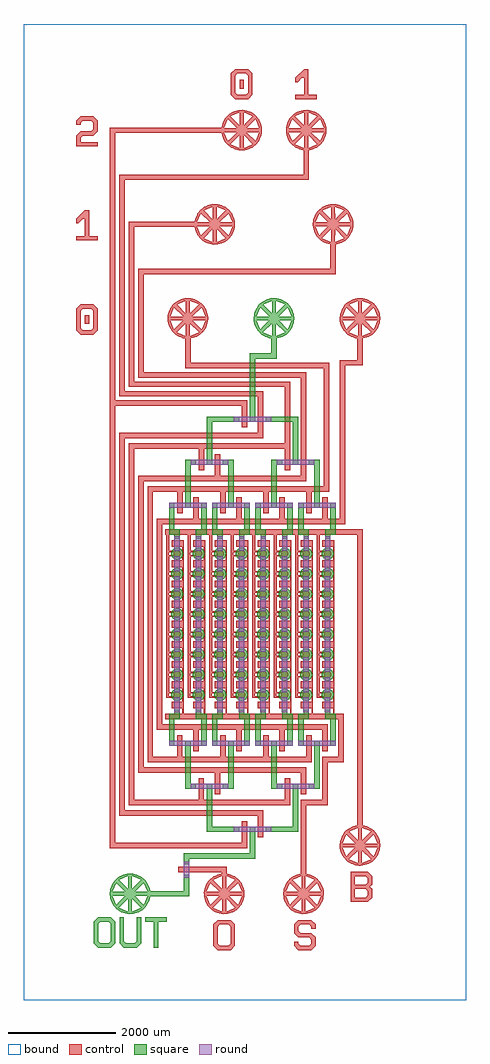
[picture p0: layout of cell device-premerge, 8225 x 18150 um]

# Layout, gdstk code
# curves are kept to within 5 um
import gdstk
lib = gdstk.Library(unit=1e-6, precision=1e-06)
def R(c, l, rs):  # rectangles x0, y0, x1, y1
    for r in rs: c.add(gdstk.rectangle(r[:2], r[2:], *l))
def A(c, l, x, y, w, h, nx, ny, dx, dy):  # array of equal rectangles
    R(c, l, [(x+i*dx, y+j*dy, x+i*dx+w, y+j*dy+h) for i in range(nx) for j in range(ny)])
def P(c, l, *ps):  # polygons
    for p in ps: c.add(gdstk.Polygon(p, *l))
square = (1, 0)
round = (2, 0)
control = (3, 0)
bound = (4, 0)

text_12 = lib.new_cell('TEXT$12')
R(text_12, control, [(160,200,240,360)])
P(text_12, control, [(80,0),(0,80),(0,480),(80,560),(320,560),(400,480),(120,480),(80,440),(80,120),(120,80),(280,80),(320,120),(320,440),(280,480),(400,480),(400,80),(320,0)])

control_inlet = lib.new_cell('control-inlet')
P(control_inlet, control, [(-19,-376),(-91,-365),(-160,-339),(-253,-279),(-302,-225),(-339,-161),(-372,-52),(-331,-35),(-259,-209),(-208,-157),(-36,-86),(-209,-259),(-35,-331),(-36,-115),(36,-86),(35,-331),(209,-259),(36,-86),(-36,-115),(-36,-86),(86,-36),(259,-209),(331,-35),(86,-36),(-208,-157),(-86,-36),(-331,-35),(-372,-52),(-376,19),(-365,91),(-330,179),(-259,209),(-331,35),(-86,36),(-259,209),(-330,179),(-304,219),(-209,259),(-36,87),(-35,302),(35,331),(36,86),(88,138),(259,209),(86,36),(331,35),(259,209),(88,138),(209,259),(35,331),(-35,302),(-35,331),(-304,219),(-279,253),(-225,302),(-161,339),(-55,372),(19,376),(91,365),(160,339),(224,302),(278,252),(322,193),(354,126),(372,55),(376,-19),(365,-91),(339,-160),(302,-224),(252,-278),(193,-322),(126,-354),(55,-372)])

flow_inlet = lib.new_cell('flow-inlet')
P(flow_inlet, square, [(-19,-376),(-91,-365),(-160,-339),(-253,-279),(-302,-225),(-339,-161),(-372,-52),(-331,-35),(-259,-209),(-208,-157),(-36,-86),(-209,-259),(-35,-331),(-36,-115),(36,-86),(35,-331),(209,-259),(36,-86),(-36,-115),(-36,-86),(86,-36),(259,-209),(331,-35),(86,-36),(-208,-157),(-86,-36),(-331,-35),(-372,-52),(-376,19),(-365,91),(-330,179),(-259,209),(-331,35),(-86,36),(-259,209),(-330,179),(-304,219),(-209,259),(-36,87),(-35,302),(35,331),(36,86),(88,138),(259,209),(86,36),(331,35),(259,209),(88,138),(209,259),(35,331),(-35,302),(-35,331),(-304,219),(-279,253),(-225,302),(-161,339),(-55,372),(19,376),(91,365),(160,339),(224,302),(278,252),(322,193),(354,126),(372,55),(376,-19),(365,-91),(339,-160),(302,-224),(252,-278),(193,-322),(126,-354),(55,-372)])

circle = lib.new_cell('CIRCLE')

sandwich = lib.new_cell('sandwich')
R(sandwich, control, [(-25,-50,0,425), (-226,74,0,199)])

circle_5 = lib.new_cell('CIRCLE$5')
P(circle_5, square, [(-5,-110),(-47,-100),(-82,-74),(-104,-37),(-110,5),(-100,47),(-74,82),(-37,104),(5,110),(47,100),(82,74),(104,37),(110,-5),(100,-47),(74,-82),(37,-104)])

circle_4 = lib.new_cell('CIRCLE$4')
P(circle_4, control, [(-3,-65),(-28,-59),(-48,-44),(-65,3),(-59,28),(-44,48),(3,65),(28,59),(48,44),(65,-3),(59,-28),(44,-48)])

chamber = lib.new_cell('chamber')
R(chamber, round, [(-125,-250,-24,26)])
P(chamber, control, [(-275,25),(-275,100),(-235,100),(-235,50),(-135,50),(-140,72),(-135,100),(-275,100),(-275,450),(-235,450),(-235,425),(-225,425),(-225,125),(-100,125),(-100,25)])
chamber.add(gdstk.Reference(circle, (25,75)))
chamber.add(gdstk.Reference(sandwich, (50,-250)))
chamber.add(gdstk.Reference(circle_5, (-75,75)))
chamber.add(gdstk.Reference(circle_4, (-75,75)))

text_3 = lib.new_cell('TEXT$3')
P(text_3, square, [(1120,0),(1120,480),(960,480),(960,560),(1360,560),(1360,480),(1200,480),(1200,0)],
  [(560,0),(480,80),(480,560),(560,560),(560,120),(600,80),(760,80),(800,120),(800,560),(880,560),(880,80),(800,0)],
  [(80,0),(0,80),(0,480),(80,560),(320,560),(400,480),(400,280),(320,280),(320,440),(280,480),(120,480),(80,440),(80,120),(120,80),(280,80),(320,120),(320,280),(400,280),(400,80),(320,0)])

text = lib.new_cell('TEXT')
P(text, control, [(0,0),(0,560),(320,560),(400,480),(80,480),(80,320),(280,320),(320,360),(320,440),(280,480),(400,480),(400,320),(360,280),(400,240),(80,240),(80,80),(280,80),(320,120),(320,200),(280,240),(400,240),(400,80),(320,0)])

text_10 = lib.new_cell('TEXT$10')
P(text_10, control, [(80,0),(0,80),(0,480),(80,560),(320,560),(400,480),(400,280),(320,280),(320,440),(280,480),(120,480),(80,440),(80,120),(120,80),(280,80),(320,120),(320,280),(400,280),(400,80),(320,0)])

text_11 = lib.new_cell('TEXT$11')
P(text_11, control, [(80,0),(0,80),(0,160),(80,160),(80,120),(120,80),(280,80),(320,120),(320,200),(280,240),(80,240),(0,320),(0,480),(80,560),(320,560),(400,480),(400,400),(320,400),(320,440),(280,480),(120,480),(80,440),(80,360),(120,320),(320,320),(400,240),(400,80),(320,0)])

text_13 = lib.new_cell('TEXT$13')
P(text_13, control, [(0,0),(0,80),(160,80),(160,400),(120,400),(40,320),(0,320),(0,400),(160,560),(240,560),(240,80),(400,80),(400,0)])

text_14 = lib.new_cell('TEXT$14')
P(text_14, control, [(0,0),(0,200),(80,280),(280,280),(320,320),(320,440),(280,480),(120,480),(80,440),(80,400),(0,400),(0,480),(80,560),(320,560),(400,480),(400,280),(320,200),(120,200),(80,160),(80,80),(400,80),(400,0)])

device_premerge = lib.new_cell('device-premerge')
A(device_premerge, square, -324, -5150, 100, 900, 3, 1, 800, 0)
A(device_premerge, square, -124, -3850, 100, 175, 5, 2, 400, 3350)
A(device_premerge, square, -124, -3850, 100, 100, 5, 1, 400, 0)
A(device_premerge, square, -1324, -425, 100, 100, 8, 1, 400, 0)
A(device_premerge, square, -1124, 75, 100, 900, 4, 1, 800, 0)
R(device_premerge, square, [(76,-6300,176,-5850), (-725,-5950,-124,-5850), (-725,-5950,-625,-5050), (376,-5950,976,-5850), (876,-5950,976,-5050), (-1125,-5150,-925,-5050), (-1125,-5150,-1025,-4250), (-424,-5150,-224,-5050), (476,-5150,676,-5050), (1176,-5150,1376,-5050), (-1425,-4350,-1325,-4250), (-1425,-4350,-1325,-3750), (-825,-4350,-725,-4250), (-825,-4350,-725,-3750), (-625,-4350,-525,-4250), (-625,-4350,-525,-3750), (-24,-4350,76,-4250), (-24,-4350,76,-3750), (176,-4350,276,-4250), (176,-4350,276,-3750), (776,-4350,876,-4250), (776,-4350,876,-3750), (976,-4350,1076,-4250), (976,-4350,1076,-3750), (1576,-4350,1676,-4250), (1576,-4350,1676,-3750), (-1425,-3850,-1225,-3750), (-1325,-3850,-1225,-3675), (-1325,-3850,-1225,-3750), (-925,-3850,-825,-3675), (-925,-3850,-825,-3750), (-925,-3850,-725,-3750), (-625,-3850,-424,-3750), (-525,-3850,-424,-3675), (-525,-3850,-424,-3750), (-124,-3850,76,-3750), (176,-3850,376,-3750), (676,-3850,876,-3750), (976,-3850,1176,-3750), (1476,-3850,1676,-3750), (-1325,-500,-1225,-325), (-925,-500,-825,-325), (-525,-500,-424,-325), (-1424,-425,-1324,175), (-1424,-425,-1224,-325), (-924,-425,-724,-325), (-824,-425,-724,175), (-624,-425,-524,175), (-624,-425,-424,-325), (-124,-425,76,-325), (-24,-425,76,175), (176,-425,276,175), (176,-425,376,-325), (676,-425,876,-325), (776,-425,876,175), (976,-425,1076,175), (976,-425,1176,-325), (1476,-425,1676,-325), (1576,-425,1676,175), (-1424,75,-1324,175), (-824,75,-724,175), (-624,75,-524,175), (-24,75,76,175), (176,75,276,175), (776,75,876,175), (976,75,1076,175), (1576,75,1676,175), (-1124,875,-924,975), (-724,875,-624,1775), (-424,875,-224,975), (476,875,676,975), (876,875,976,1775), (1176,875,1376,975), (-724,1675,-124,1775), (76,1675,176,2575), (376,1675,976,1775)])
P(device_premerge, square, [(-1800,-7150),(-1800,-7050),(-1150,-7050),(-1150,-6750),(-1050,-6750),(-1050,-7150)],
  [(-1150,-6550),(-1150,-6350),(76,-6350),(76,-6275),(176,-6275),(176,-6450),(-1050,-6450),(-1050,-6550)])
A(device_premerge, round, -124, -725, 100, 275, 5, 1, 400, 0)
A(device_premerge, round, -1424, 75, 700, 100, 4, 1, 800, 0)
R(device_premerge, round, [(-1150,-6800,-1050,-6500), (-224,-5950,476,-5850), (-1025,-5150,-324,-5050), (576,-5150,1276,-5050), (-1425,-4350,-725,-4250), (-625,-4350,76,-4250), (176,-4350,876,-4250), (976,-4350,1676,-4250), (-1325,-725,-1225,-450), (-925,-725,-825,-450), (-525,-725,-424,-450), (-1024,875,-324,975), (576,875,1276,975), (-224,1675,476,1775)])
A(device_premerge, control, -474, -4650, 100, 500, 3, 1, 800, 0)
A(device_premerge, control, -174, -4450, 100, 500, 3, 1, 800, 0)
A(device_premerge, control, -374, -700, 25, 175, 6, 1, 400, 0)
A(device_premerge, control, -174, -650, 225, 125, 5, 1, 400, 0)
A(device_premerge, control, -974, -225, 100, 500, 4, 1, 800, 0)
A(device_premerge, control, -1274, -25, 100, 500, 4, 1, 800, 0)
R(device_premerge, control, [(-2525,-6250,-1325,-6150), (-2525,-6250,-2425,2075), (-1475,-6250,26,-6150), (-74,-6250,26,-6150), (-74,-6250,26,-5750), (226,-6050,326,-5550), (-2350,-5650,-2250,1475), (-2350,-5650,-1450,-5550), (-1475,-5650,326,-5550), (226,-5650,326,-5550), (-2175,-5450,-2075,1275), (-2175,-5450,-1375,-5350), (-1475,-5450,-775,-5350), (-875,-5450,-775,-4950), (-875,-5450,826,-5350), (726,-5450,826,-4950), (-575,-5250,-474,-4750), (1026,-5250,1126,-4750), (-2000,-4850,-1900,675), (-2000,-4850,-1400,-4750), (-1475,-4850,-474,-4750), (-575,-4850,1126,-4750), (-1825,-4650,-1425,-4550), (-1825,-4650,-1725,475), (-1475,-4650,-1175,-4550), (-1275,-4650,-1175,-4150), (-1275,-4650,1226,-4550), (-975,-4450,-875,-3950), (-1650,-4050,-1550,-125), (-1650,-4050,-1450,-3950), (-1475,-4050,-875,-3950), (-975,-4050,1526,-3950), (-1500,-3850,1726,-3750), (-1175,-700,-1150,-525), (-775,-700,-750,-525), (-1375,-650,-1150,-525), (-975,-650,-750,-525), (-575,-650,-349,-525), (-1500,-425,1726,-325), (1676,-425,2026,-325), (-1650,-225,-1450,-125), (-1474,-225,-874,-125), (-974,-225,1526,-125), (1426,-225,1851,-125), (1751,-225,1851,2050), (-1825,375,-1425,475), (-1474,375,-1174,475), (-1274,375,1226,475), (1126,375,1551,475), (1451,375,1551,2050), (-2000,575,-1400,675), (-1474,575,-474,675), (-574,575,1126,675), (-574,575,-474,1075), (1026,575,1126,1075), (-874,775,-774,1275), (726,775,826,1275), (1026,975,1126,2050), (-2175,1175,-1375,1275), (-1474,1175,-774,1275), (-874,1175,826,1275), (726,1175,826,2050), (-2350,1375,-1450,1475), (-1474,1375,326,1475), (226,1375,326,1475), (226,1375,326,1875), (-74,1575,26,2075), (-2525,1975,-1325,2075), (-1474,1975,26,2075), (-74,1975,26,2075)])
R(device_premerge, bound, [(-4125,-9075,4100,9075)])
device_premerge.add(gdstk.FlexPath([(1076,-6750),(1076,-5400),(1476,-5400),(1476,-4600),(1776,-4600),(1776,-3800),(1701,-3800)], 100, ends="flush", simple_path=True, layer=3, datatype=0))  # control
device_premerge.add(gdstk.FlexPath([(2001,-375),(2126,-375),(2126,-5850)], 100, ends="flush", simple_path=True, layer=3, datatype=0))  # control
device_premerge.add(gdstk.FlexPath([(-399,-6750),(-399,-6650),(-1250,-6650)], 100, ends="flush", simple_path=True, layer=3, datatype=0))  # control
device_premerge.add(gdstk.FlexPath([(776,2025),(776,2375),(-2125,2375),(-2125,4400),(-2125,5350)], 100, ends="flush", simple_path=True, layer=3, datatype=0))  # control
device_premerge.add(gdstk.FlexPath([(1801,2025),(1801,2775),(2126,2775),(2126,3250)], 100, ends="flush", simple_path=True, layer=3, datatype=0))  # control
device_premerge.add(gdstk.FlexPath([(276,1825),(276,2200),(-2300,2200),(-2300,6225)], 100, ends="flush", simple_path=True, layer=3, datatype=0))  # control
device_premerge.add(gdstk.FlexPath([(1076,2000),(1076,2425),(1076,2550),(-1950,2550),(-1950,4475)], 100, ends="flush", simple_path=True, layer=3, datatype=0))  # control
device_premerge.add(gdstk.FlexPath([(-2475,2025),(-2475,7100)], 100, ends="flush", simple_path=True, layer=3, datatype=0))  # control
device_premerge.add(gdstk.FlexPath([(1501,2025),(1501,2725),(-1075,2725),(-1075,3250)], 100, ends="flush", simple_path=True, layer=3, datatype=0))  # control
device_premerge.add(gdstk.FlexPath([(-2525,7100),(-424,7100)], 100, ends="flush", simple_path=True, layer=3, datatype=0))  # control
device_premerge.add(gdstk.FlexPath([(-2350,6225),(1126,6225),(1126,6750)], 100, ends="flush", simple_path=True, layer=3, datatype=0))  # control
device_premerge.add(gdstk.FlexPath([(-2175,5350),(-925,5350)], 100, ends="flush", simple_path=True, layer=3, datatype=0))  # control
device_premerge.add(gdstk.FlexPath([(-2000,4475),(1626,4475),(1626,5000)], 100, ends="flush", simple_path=True, layer=3, datatype=0))  # control
device_premerge.add(gdstk.FlexPath([(126,2550),(126,2900),(526,2900),(526,3250)], 100, ends="flush", simple_path=True, layer=1, datatype=0))  # square
device_premerge.add(gdstk.Reference(text_12, (-3150,3300)))
device_premerge.add(gdstk.Reference(text_12, (-274,7675)))
device_premerge.add(gdstk.Reference(control_inlet, (-399,-7100)))
device_premerge.add(gdstk.Reference(control_inlet, (1076,-7100)))
device_premerge.add(gdstk.Reference(control_inlet, (2126,-6200)))
device_premerge.add(gdstk.Reference(control_inlet, (-1075,3600)))
device_premerge.add(gdstk.Reference(control_inlet, (2126,3600)))
device_premerge.add(gdstk.Reference(control_inlet, (-575,5350)))
device_premerge.add(gdstk.Reference(control_inlet, (1626,5350)))
device_premerge.add(gdstk.Reference(control_inlet, (-74,7100)))
device_premerge.add(gdstk.Reference(control_inlet, (1126,7100)))
device_premerge.add(gdstk.Reference(flow_inlet, (-2150,-7100)))
device_premerge.add(gdstk.Reference(flow_inlet, (526,3600)))
r = gdstk.Reference(chamber, (-1200,-3475)); r.repetition = gdstk.Repetition(8, 8, v1=(400,0), v2=(0,375)); device_premerge.add(r)
device_premerge.add(gdstk.Reference(text_3, (-2825,-8100)))
device_premerge.add(gdstk.Reference(text, (1951,-7250)))
device_premerge.add(gdstk.Reference(text_10, (-600,-8150)))
device_premerge.add(gdstk.Reference(text_11, (901,-8150)))
device_premerge.add(gdstk.Reference(text_13, (-3150,5050)))
device_premerge.add(gdstk.Reference(text_13, (926,7675)))
device_premerge.add(gdstk.Reference(text_14, (-3150,6800)))

lib.write_gds('device-premerge.gds')
